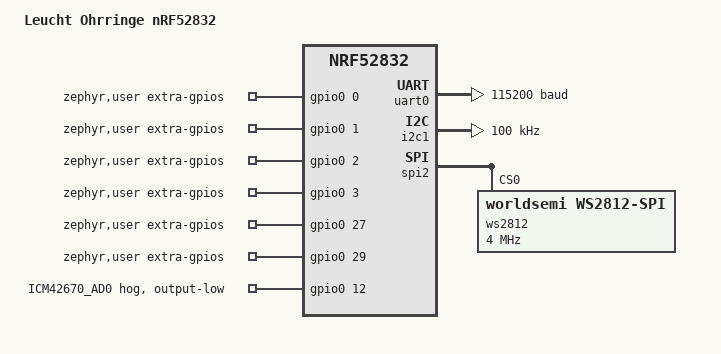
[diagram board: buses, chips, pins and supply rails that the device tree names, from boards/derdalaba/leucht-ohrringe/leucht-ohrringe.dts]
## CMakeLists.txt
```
cmake_minimum_required(VERSION 3.20.0)

set(BOARD_ROOT ${CMAKE_CURRENT_SOURCE_DIR}/)
set(BOARD leucht-ohrringe)

set(Python3_EXECUTABLE "C:/ncs/toolchains/5f5ef0cea0/opt/bin/python.exe")

set(ZEPHYR_TOOLCHAIN_VARIANT zephyr)

find_package(Zephyr REQUIRED HINTS $ENV{ZEPHYR_BASE})

project(test-sdk LANGUAGES C CXX)

target_sources(app PRIVATE
	src/main.cpp
	src/uart.cpp
	src/imu.cpp
	src/ntc.cpp
	src/led.cpp
)
```

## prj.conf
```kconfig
#
# GPIO
#
CONFIG_GPIO=y
CONFIG_GPIO_HOGS=y
CONFIG_ADC=y

#
# No external 32.768 kHz crystal.
# Use the nRF52832 internal low-frequency RC oscillator.
#
CONFIG_CLOCK_CONTROL_NRF_K32SRC_RC=y
CONFIG_CLOCK_CONTROL_NRF_K32SRC_RC_CALIBRATION=y
CONFIG_CLOCK_CONTROL_NRF_K32SRC_500PPM=y

#
# Console and printk over SEGGER RTT / SWD.
#
CONFIG_CONSOLE=y
CONFIG_PRINTK=y
CONFIG_USE_SEGGER_RTT=n
CONFIG_RTT_CONSOLE=n
CONFIG_UART_CONSOLE=y
CONFIG_SERIAL=y

#
# Logging over RTT.
#
CONFIG_LOG=y
CONFIG_LOG_DEFAULT_LEVEL=3
CONFIG_LOG_BACKEND_RTT=n
CONFIG_LOG_BACKEND_UART=y

#
# ICM-42670-L bus.
#
CONFIG_I2C=y
CONFIG_SPI=y
CONFIG_LED_STRIP=y

#
# C++ application support.
#
CONFIG_CPP=y
CONFIG_REQUIRES_FULL_LIBCPP=y
CONFIG_CPP_RTTI=n
CONFIG_CPP_EXCEPTIONS=n

#
# C++ math functions and floating-point printf/scanf support.
#
CONFIG_PICOLIBC_IO_FLOAT=y
CONFIG_CBPRINTF_FP_SUPPORT=y

CONFIG_CMSIS_DSP=y

#
# Components
#
CONFIG_CMSIS_DSP_BASICMATH=y
# CONFIG_CMSIS_DSP_COMPLEXMATH is not set
# CONFIG_CMSIS_DSP_CONTROLLER is not set
CONFIG_CMSIS_DSP_FASTMATH=y
CONFIG_CMSIS_DSP_FILTERING=y
# CONFIG_CMSIS_DSP_INTERPOLATION is not set
# CONFIG_CMSIS_DSP_MATRIX is not set
# CONFIG_CMSIS_DSP_QUATERNIONMATH is not set
# CONFIG_CMSIS_DSP_STATISTICS is not set
CONFIG_CMSIS_DSP_SUPPORT=y
# CONFIG_CMSIS_DSP_TRANSFORM is not set
# CONFIG_CMSIS_DSP_SVM is not set
# CONFIG_CMSIS_DSP_BAYES is not set
# CONFIG_CMSIS_DSP_DISTANCE is not set
# CONFIG_CMSIS_DSP_WINDOW is not set

#
# Instruction Set
#

#
# Features
#
# CONFIG_CMSIS_DSP_LOOPUNROLL is not set
# CONFIG_CMSIS_DSP_ROUNDING is not set
# CONFIG_CMSIS_DSP_MATRIXCHECK is not set
# CONFIG_CMSIS_DSP_AUTOVECTORIZE is not set
#
# Security Options
#
CONFIG_STACK_POINTER_RANDOM=0

#
# Random Number Generators
#
CONFIG_TEST_RANDOM_GENERATOR=y
CONFIG_TIMER_RANDOM_GENERATOR=y
CONFIG_TEST_CSPRNG_GENERATOR=y

#
# Stack sizes.
#
CONFIG_MAIN_STACK_SIZE=2048
CONFIG_SYSTEM_WORKQUEUE_STACK_SIZE=2048
```

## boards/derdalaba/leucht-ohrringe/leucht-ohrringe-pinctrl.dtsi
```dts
#include <zephyr/dt-bindings/pinctrl/nrf-pinctrl.h>
#include <zephyr/dt-bindings/adc/nrf-saadc.h>

&pinctrl {
	/*
	 * CH340N USB-to-UART bridge.
	 *
	 * nRF P0.06 TX -> CH340N RX
	 * nRF P0.08 RX <- CH340N TX
	 */
	uart0_default: uart0_default {
		group1 {
			psels = <NRF_PSEL(UART_TX, 0, 6)>,
				<NRF_PSEL(UART_RX, 0, 8)>;
		};
	};

	uart0_sleep: uart0_sleep {
		group1 {
			psels = <NRF_PSEL(UART_TX, 0, 6)>,
				<NRF_PSEL(UART_RX, 0, 8)>;

			low-power-enable;
		};
	};

	/*
	 * ICM-42670-L:
	 *
	 * SDA = P0.13
	 * SCL = P0.14
	 */
	i2c1_default: i2c1_default {
		group1 {
			psels = <NRF_PSEL(TWIM_SDA, 0, 13)>,
				<NRF_PSEL(TWIM_SCL, 0, 14)>;
		};
	};

	i2c1_sleep: i2c1_sleep {
		group1 {
			psels = <NRF_PSEL(TWIM_SDA, 0, 13)>,
				<NRF_PSEL(TWIM_SCL, 0, 14)>;

			low-power-enable;
		};
	};

	ws2812_spi_default: ws2812_spi_default {
		group1 {
			psels = <NRF_PSEL(SPIM_SCK, 0, 24)>,
				<NRF_PSEL(SPIM_MOSI, 0, 25)>,
				<NRF_PSEL(SPIM_MISO, 0, 23)>;
		};
	};

	ws2812_spi_sleep: ws2812_spi_sleep {
		group1 {
			psels = <NRF_PSEL(SPIM_SCK, 0, 24)>,
				<NRF_PSEL(SPIM_MOSI, 0, 25)>,
				<NRF_PSEL(SPIM_MISO, 0, 23)>;
			low-power-enable;
		};
	};
};

&adc {
	#address-cells = <1>;
	#size-cells = <0>;
	status = "okay";
	zephyr,deferred-init;

	channel@7 {
		reg = <7>;
		zephyr,gain = "ADC_GAIN_1_6";
		zephyr,reference = "ADC_REF_INTERNAL";
		zephyr,vref-mv = <600>;
		zephyr,acquisition-time = <ADC_ACQ_TIME_DEFAULT>;
		zephyr,input-positive = <NRF_SAADC_AIN7>; /* P0.31 */
		zephyr,resolution = <12>;
	};
};

/ {
	zephyr,user {
		ntc-gpios = <&gpio0 31 0>;
		io-channels = <&adc 7>;
	};
};
```

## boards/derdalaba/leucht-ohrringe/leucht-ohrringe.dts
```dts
/dts-v1/;

#include <nordic/nrf52832_qfaa.dtsi>
#include <zephyr/dt-bindings/gpio/gpio.h>
#include <zephyr/dt-bindings/i2c/i2c.h>
#include <zephyr/dt-bindings/led/led.h>

#include "leucht-ohrringe-pinctrl.dtsi"

/ {
	model = "Leucht Ohrringe nRF52832";
	compatible = "derdalaba,leucht-ohrringe";

	chosen {
		zephyr,sram = &sram0;
		zephyr,flash = &flash0;
		zephyr,console = &uart0;
	};

	zephyr,user {
		extra-gpios-gpios = <&gpio0 0 0>, <&gpio0 1 0>, <&gpio0 2 0>, <&gpio0 3 0>,
				    <&gpio0 27 0>, <&gpio0 29 0>;
	};
};

/*
 * GPIO controller and board-level GPIO initialization.
 */
&gpio0 {
	status = "okay";

	/*
	 * ICM-42670-L AD0:
	 *
	 * P0.12 is driven low during GPIO initialization.
	 * AD0 low selects I2C address 0x68.
	 */
	imu_ad0 {
		gpio-hog;
		gpios = <12 GPIO_ACTIVE_HIGH>;
		output-low;
		line-name = "ICM42670_AD0";
	};
};

&gpiote {
	status = "okay";
};

/*
 * UART0 connected to the CH340N USB-to-UART bridge.
 *
 * UART is available to the application, but it is not the
 * Zephyr console. Console/printk uses RTT.
 */
&uart0 {
	compatible = "nordic,nrf-uarte";
	status = "okay";

	current-speed = <115200>;

	pinctrl-0 = <&uart0_default>;
	pinctrl-1 = <&uart0_sleep>;
	pinctrl-names = "default", "sleep";
};

/*
 * ICM-42670-L I2C bus:
 *
 * P0.13 = SDA
 * P0.14 = SCL
 * P0.12 = AD0, held low above
 * P0.11 = INT1
 */
&i2c1 {
	compatible = "nordic,nrf-twim";
	status = "okay";

	clock-frequency = <I2C_BITRATE_STANDARD>;

	pinctrl-0 = <&i2c1_default>;
	pinctrl-1 = <&i2c1_sleep>;
	pinctrl-names = "default", "sleep";
};

&spi2 {
	compatible = "nordic,nrf-spim";
	status = "okay";

	pinctrl-0 = <&ws2812_spi_default>;
	pinctrl-1 = <&ws2812_spi_sleep>;
	pinctrl-names = "default", "sleep";

	ws2812: ws2812@0 {
		compatible = "worldsemi,ws2812-spi";
		reg = <0>;
		spi-max-frequency = <4000000>;
		chain-length = <25>;
		color-mapping = <LED_COLOR_ID_GREEN
				 LED_COLOR_ID_RED
				 LED_COLOR_ID_BLUE>;
		spi-one-frame = <0x70>;
		spi-zero-frame = <0x40>;
	};
};

/*
 * Standalone bring-up firmware.
 *
 * The application is intentionally linked at address 0x00000000.
 * Do not set zephyr,code-partition while MCUboot is disabled.
 */
&flash0 {
	partitions {
		compatible = "fixed-partitions";

		#address-cells = <1>;
		#size-cells = <1>;

		app_partition: partition@0 {
			label = "application";
			reg = <0x00000000 DT_SIZE_K(488)>;
		};

		storage_partition: partition@7a000 {
			label = "storage";
			reg = <0x0007a000 DT_SIZE_K(24)>;
		};
	};
};

&uart0_default {
	group1 {
		psels = <NRF_PSEL(UART_RX, 0, 6)>, <NRF_PSEL(UART_TX, 0, 8)>;
	};
};
```

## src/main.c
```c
#include <zephyr/kernel.h>
#include <zephyr/drivers/i2c.h>
#include <zephyr/sys/printk.h>

#define I2C_NODE DT_NODELABEL(i2c1)

#define IMU_I2C_ADDR 0x68
#define REG_DEVICE_CONFIG 0x11
#define REG_GYRO_CONFIG0 0x1c
#define REG_ACCEL_CONFIG0 0x1d
#define REG_WHO_AM_I 0x75
#define REG_PWR_MGMT0 0x1f
#define REG_ACCEL_DATA_X1 0x0b

static const struct device *const i2c = DEVICE_DT_GET(I2C_NODE);

static int imu_write_register(uint8_t reg, uint8_t value)
{
	uint8_t data[] = {reg, value};

	return i2c_write(i2c, data, sizeof(data), IMU_I2C_ADDR);
}

static int imu_read_registers(uint8_t reg, uint8_t *data, size_t length)
{
	return i2c_write_read(i2c, IMU_I2C_ADDR, &reg, sizeof(reg),
			      data, length);
}

int main(void)
{
	uint8_t who_am_i;
	uint8_t data[12];
	int16_t accel_x;
	int16_t accel_y;
	int16_t accel_z;
	int16_t gyro_x;
	int16_t gyro_y;
	int16_t gyro_z;
	int ret;

	printk("ICM-42670-L raw I2C test started\n");

	if (!device_is_ready(i2c)) {
		printk("I2C controller is not ready\n");
		return 0;
	}

	ret = imu_write_register(REG_DEVICE_CONFIG, 0x01);
	if (ret < 0) {
		printk("IMU reset failed: %d\n", ret);
		return 0;
	}

	k_msleep(10);

	ret = imu_read_registers(REG_WHO_AM_I, &who_am_i, sizeof(who_am_i));
	if (ret < 0) {
		printk("WHO_AM_I read failed: %d\n", ret);
		return 0;
	}

	printk("WHO_AM_I: 0x%02x\n", who_am_i);
	if (who_am_i != 0x63) {
		printk("Unexpected ICM-42670-L identity\n");
		return 0;
	}

	ret = imu_write_register(REG_GYRO_CONFIG0, 0x08);
	if (ret < 0) {
		printk("Gyroscope configuration failed: %d\n", ret);
		return 0;
	}

	ret = imu_write_register(REG_ACCEL_CONFIG0, 0x08);
	if (ret < 0) {
		printk("Accelerometer configuration failed: %d\n", ret);
		return 0;
	}

	ret = imu_write_register(REG_PWR_MGMT0, 0x0f);
	if (ret < 0) {
		printk("IMU power-up failed: %d\n", ret);
		return 0;
	}

	k_msleep(50);
	printk("IMU powered up\n");

	while (1) {
		ret = imu_read_registers(REG_ACCEL_DATA_X1, data, sizeof(data));
		if (ret < 0) {
			printk("IMU data read failed: %d\n", ret);
			k_msleep(1000);
			continue;
		}

		accel_x = (int16_t)((data[0] << 8) | data[1]);
		accel_y = (int16_t)((data[2] << 8) | data[3]);
		accel_z = (int16_t)((data[4] << 8) | data[5]);
		gyro_x = (int16_t)((data[6] << 8) | data[7]);
		gyro_y = (int16_t)((data[8] << 8) | data[9]);
		gyro_z = (int16_t)((data[10] << 8) | data[11]);

		printk("accel %d %d %d, gyro %d %d %d\n",
		       accel_x, accel_y, accel_z,
		       gyro_x, gyro_y, gyro_z);
		k_msleep(100);
	}
}
```

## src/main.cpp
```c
#include "imu.hpp"
#include "led.hpp"
#include "ntc.hpp"
#include "uart.hpp"
#include "fir.hpp"

#include <cmath>
#include <vector>

#include <zephyr/kernel.h>
#include <zephyr/random/random.h>
#include <zephyr/sys/printk.h>

std::vector<float> TAPS{
    -0.000000000000000002,
    0.001457826841675081,
    0.006549295164930914,
    0.016882484264206098,
    0.033750668331437424,
    0.056803882125556170,
    0.083290418346488163,
    0.108358278141449257,
    0.126410562133999788,
    0.132993169300514108,
    0.126410562133999788,
    0.108358278141449299,
    0.083290418346488204,
    0.056803882125556170,
    0.033750668331437444,
    0.016882484264206136,
    0.006549295164930921,
    0.001457826841675083,
    -0.000000000000000002,
};

Fir::Filter filter_a(TAPS);
Color PURPLE{190, 0, 255};
Color PINK{255, 0, 190};
float TWO_PI{2.0F * 3.14159265358979323846F};
float last_angle = 0.0F;
int32_t turns = 0;
bool angle_initialized = false;

int set_leds(Vec3 const& dir) {
	int const num_leds = get_num_leds();
	if (std::abs(dir.x) < 0.05F && std::abs(dir.y) < 0.05F) {
		if (0 != led_set_all(0, 0, 0)) {
				printf("could not set leds\n");
				return 1;
			}
		uint8_t color_val = sys_rand8_get() % 36;
		Color col = (dir.z > 0.0F) ? Color{color_val} : Color{static_cast<int>(static_cast<float>(color_val) * 0.75F), 0, color_val};
		
		for (size_t i = 0; i < 4; i++) {
			led_set(static_cast<int>(sys_rand8_get() % num_leds), col);
		}
		int ret = update();
		k_msleep(16);
		return ret;
	} else {
		float magnitude = std::sqrtf(std::powf(dir.x, 2.0F) + std::powf(dir.y, 2.0F));
		float angle = std::atan2(dir.y, dir.x) - 0.065F; //slight error correction
        if (angle_initialized) {
            angle += turns * TWO_PI;
            while (angle - last_angle > TWO_PI * 0.5F) {
                angle -= TWO_PI;
                turns--;
            }
            while (angle - last_angle < -TWO_PI * 0.5F) {
                angle += TWO_PI;
                turns++;
            }
        }
        last_angle = angle;
        angle_initialized = true;
        angle = angle * 0.1F;
        angle = filter_a.filter(angle);
        angle = angle * 10.0F;

		float b_y = std::sin(angle);
		float b_x = std::cos(angle);

		for (uint8_t i = 0; i < num_leds; i++) {
			float curr_angle = (static_cast<float>(i % num_leds) / static_cast<float>(num_leds)) * TWO_PI;
			float a_y = std::sin(curr_angle);
			float a_x = std::cos(curr_angle);
			
			float brightness = (a_x * b_y) - (a_y * b_x);
			if (brightness > 0.0F) {
				led_set((i + 4) % num_leds, PURPLE * 0.175F * std::powf(brightness, (1.3F - magnitude) * 2.0F));
			} else {
				brightness = std::powf(std::abs(brightness), (magnitude + 0.15F) * 6.0F);
				led_set((i + 4) % num_leds, PINK * 0.175F * brightness);
			}
		}
		return update();
	}
}

int main(void)
{

	int32_t ntc_mv;
	int ret;

	ret = uart_init();
	if (ret < 0) {
		return 0;
	}

	ret = led_init();
	if (ret < 0) {
		return 0;
	}

	ret = led_set_all(16, 8, 0);
	if (ret < 0) {
		printk("WS2812 update failed: %d\n", ret);
		return 0;
	}

	ret = ntc_init();
	if (ret < 0) {
		return 0;
	}

	ret = imu_init();
	if (ret < 0) {
		return 0;
	}
    int64_t start = 0;
	while (1) {
        start = k_uptime_get();
		uint8_t received;
		if (uart_read(received) == 0) {
			uart_write(&received, 1);
		}

		ImuSample sample;
		ret = imu_read_sample(sample);
		if (ret < 0) {
			printk("IMU data read failed: %d\n", ret);
			k_msleep(1000);
			continue;
		}

		ret = ntc_read_millivolts(ntc_mv);
		if (ret < 0) {
			printk("NTC read failed: %d\n", ret);
			k_msleep(1000);
			continue;
		}
		/*
		printf("accel %d %d %d, gyro %d %d %d, ntc %d mV\n",
		       sample.accel_x, sample.accel_y, sample.accel_z,
		       sample.gyro_x, sample.gyro_y, sample.gyro_z, ntc_mv);
		sample.accel_x = static_cast<int16_t>(
			filter_x.filter(static_cast<float>(sample.accel_x)));
		sample.accel_y = static_cast<int16_t>(
			filter_y.filter(static_cast<float>(sample.accel_y)));
		sample.accel_z = static_cast<int16_t>(
			filter_z.filter(static_cast<float>(sample.accel_z)));
		*/
		Vec3 dir = get_direction(sample);
		set_leds(dir);
        printf("turns: %d\ndelta time : %dms\n", turns, static_cast<int>(k_uptime_get() - start));
		//k_msleep(5);
	}
}
```

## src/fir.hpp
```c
#pragma once

#include <vector>
#include <cstdint>

#include <arm_math.h>

namespace Fir {
class Filter {
public:
	explicit Filter(std::vector<float> const& taps)
		: mTaps(taps.size(), 0), mState(taps.size(), 0)
	{
		if (taps.empty()) {
			return;
		}
		if (taps.size() > UINT16_MAX) {
			mState.clear();
			mTaps.clear();
			return;
		}

		for (std::size_t i = 0; i < taps.size(); ++i) {
			arm_float_to_q31(&taps[i], &mTaps[i], 1);
		}
		mTapCount = static_cast<uint16_t>(taps.size());
		arm_fir_init_q31(
			&mInstance,
			mTapCount,
			mTaps.data(),
			mState.data(),
			1);
	}

	float filter(float unfiltered_value)
	{
		float result = 0.0F;
		if (mTapCount == 0) {
			return unfiltered_value;
		}
		unfiltered_value = unfiltered_value * (1.0F / 32768.0F);
		q31_t un_fil = 0;
		arm_float_to_q31(&unfiltered_value, &un_fil, 1);
		arm_fir_fast_q31(&mInstance, &un_fil, &un_fil, 1);
		arm_q31_to_float(&un_fil, &result, 1);
		result *= 32768.0F;
		return result;
	}

private:
	std::vector<q31_t> mTaps;
	std::vector<q31_t> mState;
	arm_fir_instance_q31 mInstance{};
	uint16_t mTapCount = 0;
};
}
```

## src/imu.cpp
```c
#include "imu.hpp"

#include <cmath>

#include <zephyr/device.h>
#include <zephyr/drivers/i2c.h>
#include <zephyr/sys/printk.h>

#define I2C_NODE DT_NODELABEL(i2c1)
#define IMU_I2C_ADDR 0x68
#define REG_DEVICE_CONFIG 0x11
#define REG_GYRO_CONFIG0 0x1c
#define REG_ACCEL_CONFIG0 0x1d
#define REG_WHO_AM_I 0x75
#define REG_PWR_MGMT0 0x1f
#define REG_ACCEL_DATA_X1 0x0b

static const struct device *const i2c = DEVICE_DT_GET(I2C_NODE);

static int imu_write_register(uint8_t reg, uint8_t value)
{
	uint8_t data[] = {reg, value};
	return i2c_write(i2c, data, sizeof(data), IMU_I2C_ADDR);
}

static int imu_read_registers(uint8_t reg, uint8_t *data, size_t length)
{
	return i2c_write_read(i2c, IMU_I2C_ADDR, &reg, sizeof(reg),
			      data, length);
}

int imu_init(void)
{
	if (!device_is_ready(i2c)) {
		printk("I2C controller is not ready\n");
		return -ENODEV;
	}

	int ret = imu_write_register(REG_DEVICE_CONFIG, 0x01);
	if (ret < 0) {
		printk("IMU reset failed: %d\n", ret);
		return ret;
	}

	k_msleep(10);

	uint8_t who_am_i;
	ret = imu_read_registers(REG_WHO_AM_I, &who_am_i, sizeof(who_am_i));
	if (ret < 0) {
		printk("WHO_AM_I read failed: %d\n", ret);
		return ret;
	}

	printk("WHO_AM_I: 0x%02x\n", who_am_i);
	if (who_am_i != 0x63) {
		printk("Unexpected ICM-42670-L identity\n");
		return -EINVAL;
	}

	ret = imu_write_register(REG_GYRO_CONFIG0, 0x08);
	if (ret < 0) {
		printk("Gyroscope configuration failed: %d\n", ret);
		return ret;
	}

	ret = imu_write_register(REG_ACCEL_CONFIG0, 0x08);
	if (ret < 0) {
		printk("Accelerometer configuration failed: %d\n", ret);
		return ret;
	}

	ret = imu_write_register(REG_PWR_MGMT0, 0x0f);
	if (ret < 0) {
		printk("IMU power-up failed: %d\n", ret);
		return ret;
	}

	k_msleep(50);
	printk("ICM-42670-L initialized\n");
	return 0;
}

int imu_read_sample(ImuSample &sample)
{
	uint8_t data[12];
	int ret = imu_read_registers(REG_ACCEL_DATA_X1, data, sizeof(data));
	if (ret < 0) {
		return ret;
	}

	sample.accel_x = static_cast<int16_t>((data[0] << 8) | data[1]);
	sample.accel_y = static_cast<int16_t>((data[2] << 8) | data[3]);
	sample.accel_z = static_cast<int16_t>((data[4] << 8) | data[5]);
	sample.gyro_x = static_cast<int16_t>((data[6] << 8) | data[7]);
	sample.gyro_y = static_cast<int16_t>((data[8] << 8) | data[9]);
	sample.gyro_z = static_cast<int16_t>((data[10] << 8) | data[11]);
	return 0;
}

Vec3 get_direction(ImuSample const &sample) {
	return get_direction(sample.accel_x, sample.accel_y, sample.accel_z);
}

Vec3 get_direction(int16_t const &accel_x, int16_t const &accel_y, int16_t const &accel_z) {
	float const magnitude = std::sqrt(
		static_cast<float>(accel_x) * accel_x +
		static_cast<float>(accel_y) * accel_y +
		static_cast<float>(accel_z) * accel_z);
	if (magnitude == 0.0F) {
		return Vec3();
	}
	return Vec3(accel_x / magnitude, accel_y / magnitude, accel_z / magnitude);
}

Direction get_heading(Vec3 direction) {
	if (std::abs(direction.x) > std::abs(direction.y)) {
		if (std::abs(direction.x) > std::abs(direction.z)) {
			if (direction.x > 0.0F) {
				return NORTH;
			} else {
				return SOUTH;
			}
		} else {
			if (direction.z > 0.0F) {
				return UP;
			} else {
				return DOWN;
			}
		}
	} else {
		if (std::abs(direction.y) > std::abs(direction.z)) {
			if (direction.y > 0.0F) {
				return WEST;
			} else {
				return EAST;
			}
		} else {
			if (direction.z > 0.0F) {
				return UP;
			} else {
				return DOWN;
			}
		}
	}
}
```

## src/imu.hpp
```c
#pragma once

#include <cstdint>

enum Direction {
	UP,
	DOWN,
	NORTH,
	EAST,
	SOUTH,
	WEST
};

struct ImuSample {
	int16_t accel_x;
	int16_t accel_y;
	int16_t accel_z;
	int16_t gyro_x;
	int16_t gyro_y;
	int16_t gyro_z;
};

struct Vec3 {
	float x;
	float y;
	float z;

	Vec3(float x = 0.0F, float y = 0.0F, float z = 0.0F)
		: x(x), y(y), z(z) {}
};

int imu_init(void);
int imu_read_sample(ImuSample &sample);
Vec3 get_direction(ImuSample const &sample);
Vec3 get_direction(int16_t const &accel_x, int16_t const &accel_y, int16_t const &accel_z);
Direction get_heading(Vec3 direction);
```

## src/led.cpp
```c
#include "led.hpp"

#include <zephyr/device.h>
#include <zephyr/drivers/led_strip.h>
#include <zephyr/sys/printk.h>

#define LED_STRIP_NODE DT_NODELABEL(ws2812)
#define LED_STRIP_COUNT 25

static const struct device *const strip =
	DEVICE_DT_GET(LED_STRIP_NODE);
static struct led_rgb pixels[LED_STRIP_COUNT];

int led_init(void)
{
	if (!device_is_ready(strip)) {
		printk("WS2812 LED strip is not ready\n");
		return -ENODEV;
	}

	return led_set_all(0, 0, 0);
}

int led_set_all(uint8_t red, uint8_t green, uint8_t blue)
{
	for (auto &pixel : pixels) {
		pixel.r = red;
		pixel.g = green;
		pixel.b = blue;
	}

	return led_strip_update_rgb(strip, pixels, LED_STRIP_COUNT);
}

int get_num_leds() {
	return LED_STRIP_COUNT;
}

int led_set(int const& led, uint8_t const& red, uint8_t const& green, uint8_t const& blue) {
	if (led < 0 || led >= LED_STRIP_COUNT) {
		return 1;
	}
	pixels[led].r = red;
	pixels[led].g = green;
	pixels[led].b = blue;
	return 0;
}

int led_set(int const& led, Color const& col) {
	return led_set(led, col.r, col.g, col.b);
}

int update() {
	return led_strip_update_rgb(strip, pixels, LED_STRIP_COUNT);
}
```

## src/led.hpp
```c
#pragma once

#include <cstdint>
#include <type_traits>

struct Color {
	uint8_t r;
	uint8_t g;
	uint8_t b;

	Color() : r(0), g(0), b(0) {}
	Color(uint8_t brightness) : r(brightness), g(brightness), b(brightness) {}
	Color(uint8_t r, uint8_t g, uint8_t b) : r(r), g(g), b(b) {}
};

namespace detail {

template<typename T>
uint8_t multiply_channel(uint8_t channel, T brightness)
{
	float const value = static_cast<float>(channel) * static_cast<float>(brightness);
	if (value <= 0.0F) {
		return 0;
	}
	if (value >= 255.0F) {
		return 255;
	}
	return static_cast<uint8_t>(value);
}

} // namespace detail

template<typename T>
typename std::enable_if<std::is_arithmetic<T>::value, Color>::type
operator*(Color const& color, T brightness)
{
	return Color(
		detail::multiply_channel(color.r, brightness),
		detail::multiply_channel(color.g, brightness),
		detail::multiply_channel(color.b, brightness));
}

template<typename T>
typename std::enable_if<std::is_arithmetic<T>::value, Color>::type
operator*(T brightness, Color const& color)
{
	return color * brightness;
}

int led_init(void);
int led_set_all(uint8_t red, uint8_t green, uint8_t blue);
int get_num_leds();
int led_set(int const& led, uint8_t const& red, uint8_t const& green, uint8_t const& blue);
int update();
int led_set(int const& led, Color const& col);
```

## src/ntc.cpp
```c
#include "ntc.hpp"

#include <zephyr/device.h>
#include <zephyr/drivers/adc.h>
#include <zephyr/sys/printk.h>

#define NTC_ADC_NODE DT_PATH(zephyr_user)

static const struct adc_dt_spec ntc_adc =
	ADC_DT_SPEC_GET(NTC_ADC_NODE);

int ntc_init(void)
{
	int ret;

	if (!device_is_ready(ntc_adc.dev)) {
		ret = device_init(ntc_adc.dev);
		if (ret < 0) {
			printk("ADC initialization failed: %d\n", ret);
			return ret;
		}
	}

	if (!device_is_ready(ntc_adc.dev)) {
		printk("ADC is not ready\n");
		return -ENODEV;
	}

	ret = adc_channel_setup_dt(&ntc_adc);
	if (ret < 0) {
		printk("ADC channel setup failed: %d\n", ret);
	}
	return ret;
}

int ntc_read_millivolts(int32_t &millivolts)
{
	int16_t raw;
	struct adc_sequence sequence = {};

	int ret = adc_sequence_init_dt(&ntc_adc, &sequence);
	if (ret < 0) {
		return ret;
	}

	sequence.buffer = &raw;
	sequence.buffer_size = sizeof(raw);

	ret = adc_read_dt(&ntc_adc, &sequence);
	if (ret < 0) {
		return ret;
	}

	millivolts = raw;
	return adc_raw_to_millivolts_dt(&ntc_adc, &millivolts);
}
```

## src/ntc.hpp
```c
#pragma once

#include <cstdint>

int ntc_init(void);
int ntc_read_millivolts(int32_t &millivolts);
```

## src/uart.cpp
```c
#include "uart.hpp"

#include <zephyr/device.h>
#include <zephyr/drivers/uart.h>
#include <zephyr/sys/printk.h>

#define UART_NODE DT_CHOSEN(zephyr_console)

static const struct device *const uart = DEVICE_DT_GET(UART_NODE);

int uart_init(void)
{
	if (!device_is_ready(uart)) {
		printk("UART controller is not ready\n");
		return -ENODEV;
	}

	return 0;
}

int uart_write(const uint8_t *data, uint32_t length)
{
	for (uint32_t i = 0; i < length; i++) {
		uart_poll_out(uart, static_cast<char>(data[i]));
	}
	return 0;
}

int uart_read(uint8_t &byte)
{
	return uart_poll_in(uart, reinterpret_cast<unsigned char *>(&byte));
}
```

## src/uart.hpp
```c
#pragma once

#include <cstdint>

int uart_init(void);
int uart_write(const uint8_t *data, uint32_t length);
int uart_read(uint8_t &byte);
```
